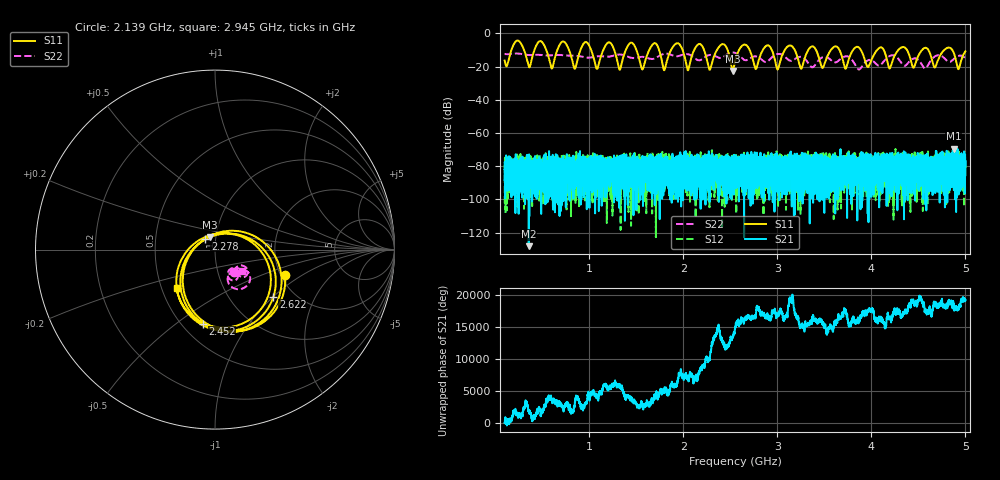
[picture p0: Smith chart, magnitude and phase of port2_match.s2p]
!Keysight Technologies N9917A: A.13.25
!Date: Thursday, 15 October 2026 16:20:12
!Timezone: (UTC-08:00) Pacific Time (US & Canada)
!Model: N9917A
!Serial: MY56072049
!GPS Latitude:
!GPS Longitude:
!GPS TimeStamp: 0001-01-01 00:00:00Z
!GPS Seconds Since Last Read: 0
!CHECKSUM:0995807180
!Correction: S11(Rdy)S21(Rdy)S12(Rdy)S22(Rdy)
!S2P File: Measurements:S11,S21,S12,S22:
# Hz S DB R 50
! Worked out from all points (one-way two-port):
!   10001 points, 100 MHz to 5 GHz, reference 50 ohm
!   highest |S21| = -69.39 dB at 4.875 GHz (marker M1); lowest = -128.1 dB at 356.8 MHz (marker M2)
!   lowest |S11| = -22.5 dB at 2.526 GHz (marker M3), VSWR 1.16, Z = 47 + j6.62 ohm
!   |S11| at or under -10 dB: 3.412 GHz to 3.569 GHz (157.1 MHz wide, 4.5 % of centre); 3.89 GHz to 4.06 GHz (170.3 MHz wide, 4.28 % of centre); 4.608 GHz to 4.774 GHz (166.2 MHz wide, 3.54 % of centre) (the widest 3 of 21)
!   |S22| runs from -21.7 to -11.4 dB; largest |S21 - S12| = 0.0005
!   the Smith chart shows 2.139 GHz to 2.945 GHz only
!   S11 on the Smith chart (normalised r, x): 2.139 GHz: 2.12, -0.71; 2.278 GHz: 0.89, +0.11; 2.452 GHz: 0.63, -0.63; 2.622 GHz: 1.57, -1.01; 2.945 GHz: 0.60, -0.28
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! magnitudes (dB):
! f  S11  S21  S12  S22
! 100 MHz  -16.3  -88.4  -102.3  -12.4
! 239.2 MHz  -4.2  -89.4  -86.8  -12.1
! 356.8 MHz  -19.9  -128.1  -87.4  -13.0
! 473.4 MHz  -4.6  -90.9  -84.4  -12.9
! 601.8 MHz  -21.1  -84.3  -81.5  -13.1
! 916.8 MHz  -8.5  -76.1  -76.1  -13.9
! 1.325 GHz  -21.8  -80.8  -81.6  -12.6
! 1.452 GHz  -5.6  -90.4  -77.3  -14.8
! 1.566 GHz  -21.7  -80.4  -80.8  -14.1
! 1.734 GHz  -8.5  -91.4  -94.4  -13.9
! 2.051 GHz  -22.1  -82.3  -80.1  -12.5
! 2.139 GHz  -7.7  -88.6  -87.4  -15.7
! 2.278 GHz  -21.8  -80.4  -77.4  -12.9
! 2.452 GHz  -7.6  -86.9  -73.4  -13.2
! 2.526 GHz  -22.5  -75.8  -80.2  -11.4
! 2.55 GHz  -16.9  -85.5  -82.8  -11.6
! 2.622 GHz  -7.6  -88.6  -86.6  -14.7
! 2.945 GHz  -10.3  -76.6  -75.8  -14.3
! 3.367 GHz  -7.7  -76.2  -72.2  -20.3
! 4.184 GHz  -20.0  -77.1  -79.6  -13.9
! 4.875 GHz  -11.4  -69.4  -82.4  -15.4
! 5 GHz  -10.8  -85.4  -78.1  -15.1
